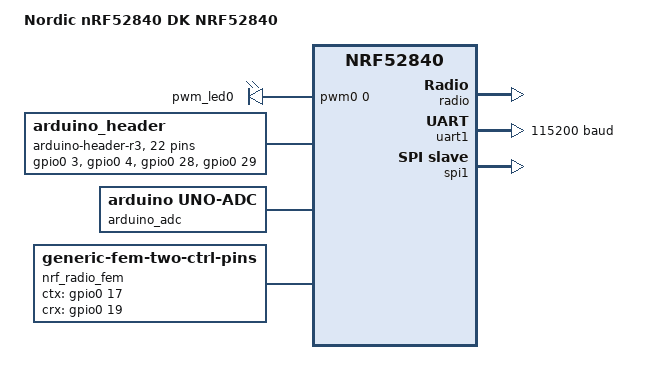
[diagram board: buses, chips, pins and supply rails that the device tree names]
/*
 * Copyright (c) 2017 Linaro Limited
 *
 * SPDX-License-Identifier: Apache-2.0
 */

/dts-v1/;
#include <nordic/nrf52840_qiaa.dtsi>
#include "evbt840xe_nrf52840-pinctrl.dtsi"
#include <zephyr/dt-bindings/input/input-event-codes.h>

/ {
	model = "Nordic nRF52840 DK NRF52840";
	compatible = "nordic,evbt840xe-nrf52840";

	chosen {
		zephyr,console = &uart1;
		zephyr,shell-uart = &uart1;
		zephyr,uart-mcumgr = &uart1;
		zephyr,bt-mon-uart = &uart1;
		zephyr,bt-c2h-uart = &uart1;
		zephyr,sram = &sram0;
		zephyr,flash = &flash0;
		zephyr,code-partition = &slot0_partition;
		zephyr,ieee802154 = &ieee802154;
	};


	pwmleds {
		compatible = "pwm-leds";
		pwm_led0: pwm_led_0 {
			pwms = <&pwm0 0 PWM_MSEC(20) PWM_POLARITY_INVERTED>;
		};
	};

	arduino_header: connector {
		compatible = "arduino-header-r3";
		#gpio-cells = <2>;
		gpio-map-mask = <0xffffffff 0xffffffc0>;
		gpio-map-pass-thru = <0 0x3f>;
		gpio-map = <0 0 &gpio0 3 0>,	/* A0 */
			   <1 0 &gpio0 4 0>,	/* A1 */
			   <2 0 &gpio0 28 0>,	/* A2 */
			   <3 0 &gpio0 29 0>,	/* A3 */
			   <4 0 &gpio0 30 0>,	/* A4 */
			   <5 0 &gpio0 31 0>,	/* A5 */
			   <6 0 &gpio1 1 0>,	/* D0 */
			   <7 0 &gpio1 2 0>,	/* D1 */
			   <8 0 &gpio1 3 0>,	/* D2 */
			   <9 0 &gpio1 4 0>,	/* D3 */
			   <10 0 &gpio1 5 0>,	/* D4 */
			   <11 0 &gpio1 6 0>,	/* D5 */
			   <12 0 &gpio1 7 0>,	/* D6 */
			   <13 0 &gpio1 8 0>,	/* D7 */
			   <14 0 &gpio1 10 0>,	/* D8 */
			   <15 0 &gpio1 11 0>,	/* D9 */
			   <16 0 &gpio1 12 0>,	/* D10 */
			   <17 0 &gpio1 13 0>,	/* D11 */
			   <18 0 &gpio1 14 0>,	/* D12 */
			   <19 0 &gpio1 15 0>,	/* D13 */
			   <20 0 &gpio0 26 0>,	/* D14 */
			   <21 0 &gpio0 27 0>;	/* D15 */
	};

	arduino_adc: analog-connector {
		compatible = "arduino,uno-adc";
		#io-channel-cells = <1>;
		io-channel-map = <0 &adc 1>,	/* A0 = P0.3 = AIN1 */
				 <1 &adc 2>,	/* A1 = P0.4 = AIN2 */
				 <2 &adc 4>,	/* A2 = P0.28 = AIN4 */
				 <3 &adc 5>,	/* A3 = P0.29 = AIN5 */
				 <4 &adc 6>,	/* A4 = P0.30 = AIN6 */
				 <5 &adc 7>;	/* A5 = P0.31 = AIN7 */
	};

	/* These aliases are provided for compatibility with samples */
	aliases {
		watchdog0 = &wdt0;
	};

	nrf_radio_fem2: sky61122_fem {
		compatible = "nordic,nrf21540-fem";
    status = "disabled";
		tx-en-gpios = <&gpio0 17 GPIO_ACTIVE_HIGH>;
		rx-en-gpios = <&gpio0 19 GPIO_ACTIVE_HIGH>;
	};

	nrf_radio_fem: sky61122_fem_gen {
		compatible = "generic-fem-two-ctrl-pins";
    status = "okay";
		ctx-gpios = <&gpio0 17 GPIO_ACTIVE_HIGH>;
		crx-gpios = <&gpio0 19 GPIO_ACTIVE_HIGH>;
    crx-settle-time-us = <1>;
    ctx-settle-time-us = <1>;
	};

  

};

&radio {
  fem = <&nrf_radio_fem>;
};

&adc {
	status = "disabled";
};

&uicr {
	gpio-as-nreset;
};

&gpiote {
	status = "okay";
};

&gpio0 {
	status = "okay";
};

&gpio1 {
	status = "okay";
};

&uart0 {
	compatible = "nordic,nrf-uarte";
	current-speed = <115200>;
	pinctrl-0 = <&uart0_default>;
	pinctrl-1 = <&uart0_sleep>;
	pinctrl-names = "default", "sleep";
  status = "disabled";
};

arduino_serial: &uart1 {
	compatible = "nordic,nrf-uarte";
	status = "okay";
	current-speed = <115200>;
	pinctrl-0 = <&uart1_default>;
	pinctrl-1 = <&uart1_sleep>;
	pinctrl-names = "default", "sleep";
};

arduino_i2c: &i2c0 {
	compatible = "nordic,nrf-twi";
	/* status = "okay"; */
	pinctrl-0 = <&i2c0_default>;
	pinctrl-1 = <&i2c0_sleep>;
	pinctrl-names = "default", "sleep";
	status = "disabled";
};

&i2c1 {
	compatible = "nordic,nrf-twi";
	/* Cannot be used together with spi1. */
	status = "disabled"; 
	pinctrl-0 = <&i2c1_default>;
	pinctrl-1 = <&i2c1_sleep>;
	pinctrl-names = "default", "sleep";
};

&pwm0 {
	status = "disabled";
	pinctrl-0 = <&pwm0_default>;
	pinctrl-1 = <&pwm0_sleep>;
	pinctrl-names = "default", "sleep";
};

&spi0 {
	compatible = "nordic,nrf-spi";
	/* Cannot be used together with i2c0. */
	status = "disabled";
	pinctrl-0 = <&spi0_default>;
	pinctrl-1 = <&spi0_sleep>;
	pinctrl-names = "default", "sleep";
};

&spi1 {
	compatible = "nordic,nrf-spis";
	status = "okay";
	pinctrl-0 = <&spi1_default>;
	pinctrl-1 = <&spi1_sleep>;
	pinctrl-names = "default", "sleep";
  def-char = <0x00>;
};

&spi2 {
	compatible = "nordic,nrf-spi";
	status = "disabled";
	pinctrl-0 = <&spi2_default>;
	pinctrl-1 = <&spi2_sleep>;
	pinctrl-names = "default", "sleep";
};

&qspi {
	status = "disabled";
};

arduino_spi: &spi3 {
	status = "disabled";
	cs-gpios = <&arduino_header 16 GPIO_ACTIVE_LOW>; /* D10 */
	pinctrl-0 = <&spi3_default>;
	pinctrl-1 = <&spi3_sleep>;
	pinctrl-names = "default", "sleep";
};

&ieee802154 {
	status = "disabled";
};

&flash0 {

	partitions {
		compatible = "fixed-partitions";
		#address-cells = <1>;
		#size-cells = <1>;

		boot_partition: partition@0 {
			label = "mcuboot";
			reg = <0x00000000 0x0000C000>;
		};
		slot0_partition: partition@c000 {
			label = "image-0";
			reg = <0x0000C000 0x00076000>;
		};
		slot1_partition: partition@82000 {
			label = "image-1";
			reg = <0x00082000 0x00076000>;
		};

		/*
		 * The flash starting at 0x000f8000 and ending at
		 * 0x000fffff is reserved for use by the application.
		 */

		/*
		 * Storage partition will be used by FCB/LittleFS/NVS
		 * if enabled.
		 */
		storage_partition: partition@f8000 {
			label = "storage";
			reg = <0x000f8000 0x00008000>;
		};
	};
};

zephyr_udc0: &usbd {
	compatible = "nordic,nrf-usbd";
	status = "disabled";
};
